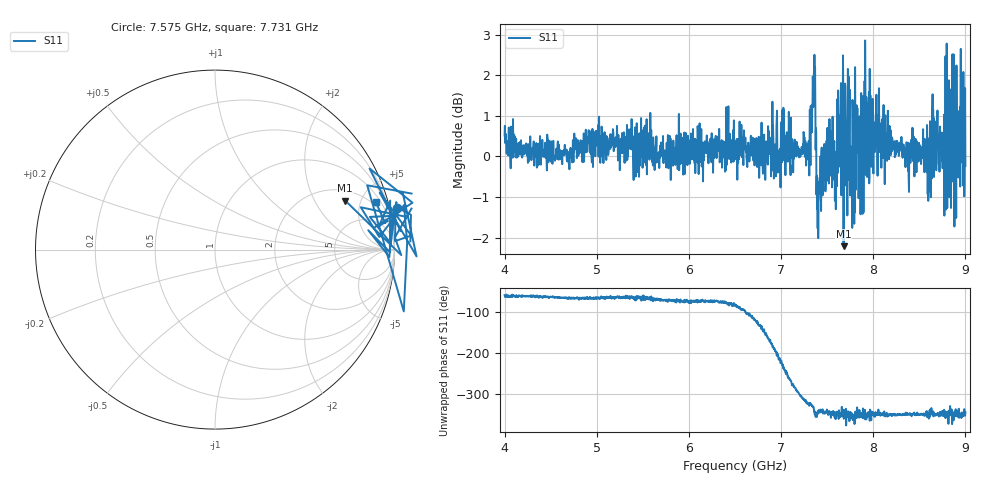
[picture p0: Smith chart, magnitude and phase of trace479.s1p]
! Created with skrf 1.8.0 (http://scikit-rf.org).
# Hz S RI R 50.0
!freq ReS11 ImS11
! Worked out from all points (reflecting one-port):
!   1601 points, 4 GHz to 9 GHz, reference 50 ohm
!   lowest |S11| = -2.2 dB at 7.678 GHz (marker M1), VSWR 7.89, Z = 133 + j182 ohm
!   phase of S11 starts at -57 deg and turns -289 deg over the sweep
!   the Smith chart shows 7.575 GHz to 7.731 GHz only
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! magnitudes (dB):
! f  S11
! 4 GHz  0.5
! 4.625 GHz  -0.2
! 5.25 GHz  -0.3
! 5.875 GHz  0.3
! 6.5 GHz  0.3
! 7.125 GHz  0.2
! 7.294 GHz  -0.1
! 7.347 GHz  1.7
! 7.409 GHz  -1.0
! 7.512 GHz  0.3
! 7.584 GHz  -1.1
! 7.65 GHz  1.8
! 7.678 GHz  -2.2
! 7.75 GHz  -1.0
! 7.775 GHz  1.4
! 7.828 GHz  1.2
! 7.875 GHz  -0.5
! 7.928 GHz  1.1
! 7.981 GHz  -0.3
! 8.05 GHz  0.6
! 8.375 GHz  0.0
! 8.612 GHz  -0.2
! 8.656 GHz  0.9
! 8.766 GHz  0.6
! 8.822 GHz  1.9
! 8.906 GHz  0.7
! 8.959 GHz  1.9
! 9 GHz  -0.2
